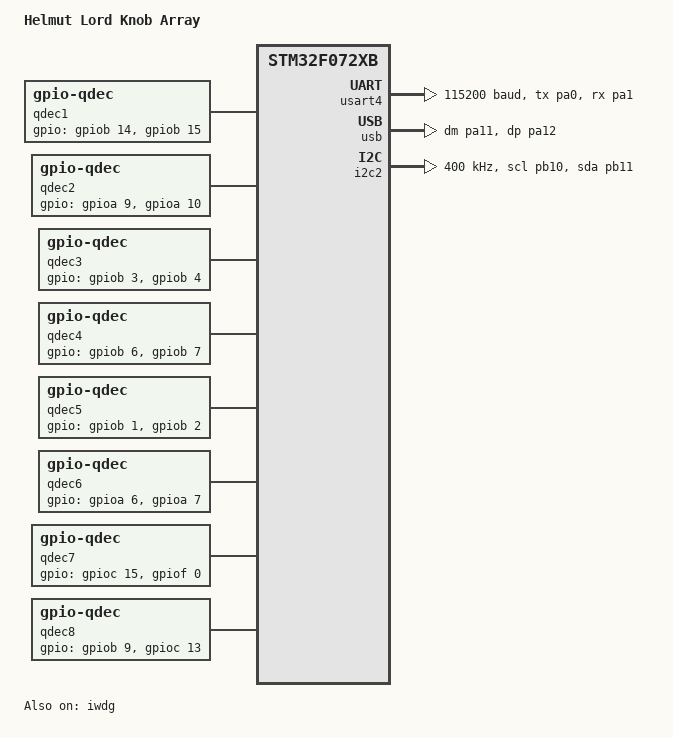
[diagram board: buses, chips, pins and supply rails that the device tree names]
/*
 * Copyright (c) 2024 Helmut Lord
 *
 * SPDX-License-Identifier: Apache-2.0
 */

/dts-v1/;
#include <st/f0/stm32f072Xb.dtsi>
#include <st/f0/stm32f072r(8-b)tx-pinctrl.dtsi>
#include <zephyr/dt-bindings/input/input-event-codes.h>

/ {
	model = "Helmut Lord Knob Array";
	compatible = "helmutlord,knob-array";

	chosen {
		zephyr,console = &usart4;
		zephyr,shell-uart = &usart4;
		zephyr,sram = &sram0;
		zephyr,flash = &flash0;
	};

	qdec1 {
		compatible = "gpio-qdec";
		gpios = <&gpiob 14 (GPIO_PULL_UP | GPIO_ACTIVE_HIGH)>,
			<&gpiob 15 (GPIO_PULL_UP | GPIO_ACTIVE_HIGH)>;
		steps-per-period = <4>;
		zephyr,axis = <INPUT_REL_WHEEL>;
		sample-time-us = <2000>;
		idle-timeout-ms = <200>;
		idle-poll-time-us = <5000>;
	};

	qdec2 {
		compatible = "gpio-qdec";
		gpios = <&gpioa 9 (GPIO_PULL_UP | GPIO_ACTIVE_HIGH)>,
			<&gpioa 10 (GPIO_PULL_UP | GPIO_ACTIVE_HIGH)>;
		steps-per-period = <4>;
		zephyr,axis = <INPUT_REL_WHEEL>;
		sample-time-us = <2000>;
		idle-timeout-ms = <200>;
		idle-poll-time-us = <5000>;
	};

	qdec3 {
		compatible = "gpio-qdec";
		gpios = <&gpiob 3 (GPIO_PULL_UP | GPIO_ACTIVE_HIGH)>,
			<&gpiob 4 (GPIO_PULL_UP | GPIO_ACTIVE_HIGH)>;
		steps-per-period = <4>;
		zephyr,axis = <INPUT_REL_WHEEL>;
		sample-time-us = <2000>;
		idle-timeout-ms = <200>;
		idle-poll-time-us = <5000>;
	};

	qdec4 {
		compatible = "gpio-qdec";
		gpios = <&gpiob 6 (GPIO_PULL_UP | GPIO_ACTIVE_HIGH)>,
			<&gpiob 7 (GPIO_PULL_UP | GPIO_ACTIVE_HIGH)>;
		steps-per-period = <4>;
		zephyr,axis = <INPUT_REL_WHEEL>;
		sample-time-us = <2000>;
		idle-timeout-ms = <200>;
		idle-poll-time-us = <5000>;
	};

	qdec5 {
		compatible = "gpio-qdec";
		gpios = <&gpiob 1 (GPIO_PULL_UP | GPIO_ACTIVE_HIGH)>,
			<&gpiob 2 (GPIO_PULL_UP | GPIO_ACTIVE_HIGH)>;
		steps-per-period = <4>;
		zephyr,axis = <INPUT_REL_WHEEL>;
		sample-time-us = <2000>;
		idle-timeout-ms = <200>;
		idle-poll-time-us = <5000>;
	};

	qdec6 {
		compatible = "gpio-qdec";
		gpios = <&gpioa 6 (GPIO_PULL_UP | GPIO_ACTIVE_HIGH)>,
			<&gpioa 7 (GPIO_PULL_UP | GPIO_ACTIVE_HIGH)>;
		steps-per-period = <4>;
		zephyr,axis = <INPUT_REL_WHEEL>;
		sample-time-us = <2000>;
		idle-timeout-ms = <200>;
		idle-poll-time-us = <5000>;
	};

	qdec7 {
		compatible = "gpio-qdec";
		gpios = <&gpioc 15 (GPIO_PULL_UP | GPIO_ACTIVE_HIGH)>,
			<&gpiof 0 (GPIO_PULL_UP | GPIO_ACTIVE_HIGH)>;
		steps-per-period = <4>;
		zephyr,axis = <INPUT_REL_WHEEL>;
		sample-time-us = <2000>;
		idle-timeout-ms = <200>;
		idle-poll-time-us = <5000>;
	};

	qdec8 {
		compatible = "gpio-qdec";
		gpios = <&gpiob 9 (GPIO_PULL_UP | GPIO_ACTIVE_HIGH)>,
			<&gpioc 13 (GPIO_PULL_UP | GPIO_ACTIVE_HIGH)>;
		steps-per-period = <4>;
		zephyr,axis = <INPUT_REL_WHEEL>;
		sample-time-us = <2000>;
		idle-timeout-ms = <200>;
		idle-poll-time-us = <5000>;
	};

	aliases {
		watchdog0 = &iwdg;
	};
};

&clk_hsi {
	status = "okay";
};

&pll {
	prediv = <1>;
	mul = <6>;
	clocks = <&clk_hsi>;
	status = "okay";
};

&rcc {
	clocks = <&pll>;
	clock-frequency = <DT_FREQ_M(48)>;
	ahb-prescaler = <1>;
	apb1-prescaler = <1>;
};

&usart4 {
	pinctrl-0 = <&usart4_tx_pa0 &usart4_rx_pa1>;
	pinctrl-names = "default";
	current-speed = <115200>;
	status = "okay";
};

zephyr_udc0: &usb {
	pinctrl-0 = <&usb_dm_pa11 &usb_dp_pa12>;
	pinctrl-names = "default";
	status = "okay";
};

&i2c2 {
	pinctrl-0 = <&i2c2_scl_pb10 &i2c2_sda_pb11>;
	pinctrl-names = "default";
	status = "okay";
	clock-frequency = <I2C_BITRATE_FAST>;
};

&iwdg {
	status = "okay";
};
